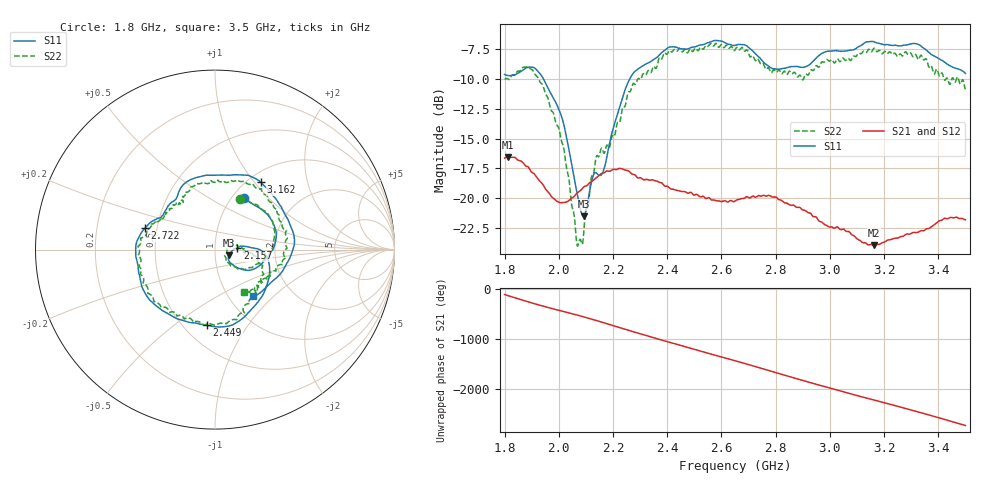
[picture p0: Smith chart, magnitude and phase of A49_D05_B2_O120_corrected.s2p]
! Created with skrf 1.9.0 (http://scikit-rf.org).
# Hz S RI R 50.0
!freq ReS11 ImS11 ReS21 ImS21 ReS12 ImS12 ReS22 ImS22
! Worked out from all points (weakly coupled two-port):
!   1601 points, 1.8 GHz to 3.5 GHz, reference 50 ohm
!   highest |S21| = -16.53 dB at 1.812 GHz (marker M1); lowest = -24.0 dB at 3.162 GHz (marker M2)
!   lowest |S11| = -21.5 dB at 2.091 GHz (marker M3), VSWR 1.18, Z = 58.3 - j3.73 ohm
!   |S11| at or under -10 dB: 1.944 GHz to 2.261 GHz (317.3 MHz wide, 15.1 % of centre)
!   |S22| runs from -24.0 to -7.0 dB; largest |S21 - S12| = 0.0024
!   S11 on the Smith chart (normalised r, x): 1.8 GHz: 1.13, +0.73; 2.157 GHz: 1.29, +0.02; 2.449 GHz: 0.65, -0.67; 2.722 GHz: 0.43, +0.12; 3.162 GHz: 1.14, +1.08; 3.5 GHz: 1.29, -0.75
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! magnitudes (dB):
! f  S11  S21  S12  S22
! 1.8 GHz  -9.6  -16.6  -16.6  -10.0
! 1.812 GHz  -9.7  -16.5  -16.5  -10.0
! 1.883 GHz  -9.0  -17.3  -17.3  -8.9
! 1.941 GHz  -9.9  -18.9  -18.8  -10.5
! 2.013 GHz  -13.3  -20.4  -20.4  -15.4
! 2.066 GHz  -19.4  -19.6  -19.6  -23.7
! 2.084 GHz  -21.3  -19.3  -19.2  -23.8
! 2.091 GHz  -21.5  -19.1  -19.1  -23.1
! 2.125 GHz  -18.2  -18.5  -18.5  -18.0
! 2.157 GHz  -18.0  -17.9  -17.9  -15.8
! 2.189 GHz  -15.2  -17.7  -17.7  -15.6
! 2.258 GHz  -10.2  -17.7  -17.7  -11.1
! 2.367 GHz  -8.1  -18.6  -18.6  -8.4
! 2.449 GHz  -7.4  -19.4  -19.4  -7.5
! 2.65 GHz  -7.2  -20.2  -20.2  -7.6
! 2.722 GHz  -7.8  -19.9  -19.8  -8.4
! 2.797 GHz  -9.1  -19.9  -19.9  -9.3
! 2.934 GHz  -8.6  -21.4  -21.4  -9.2
! 3.162 GHz  -6.8  -24.0  -23.9  -7.4
! 3.217 GHz  -7.1  -23.5  -23.5  -7.7
! 3.324 GHz  -7.1  -22.9  -22.8  -8.3
! 3.5 GHz  -9.5  -21.8  -21.8  -10.8
